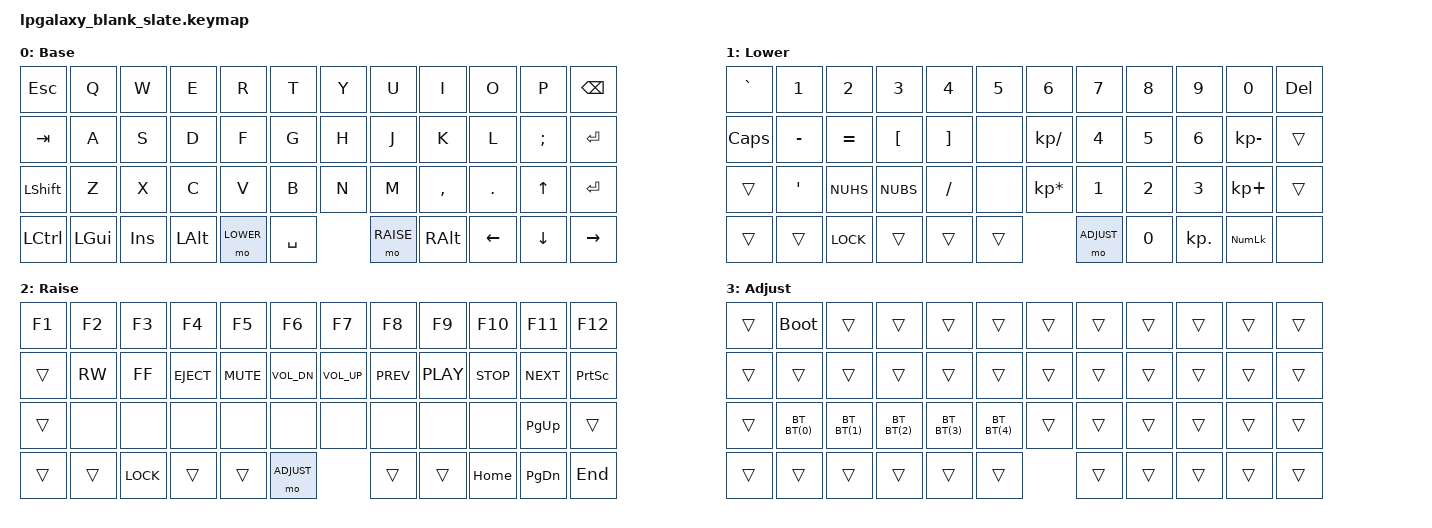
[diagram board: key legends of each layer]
/*
 * Blank Slate Firmware Keymap
 * Layout: 4x12-1x2u
 * ZMK revision: v0.3.0
 */

#include <behaviors.dtsi>
#include <dt-bindings/zmk/keys.h>
#include <dt-bindings/zmk/bt.h>f
#include <dt-bindings/zmk/outputs.h>

#define LOWER 1
#define RAISE 2
#define ADJUST 3

// Using layer taps on thumbs, having quick tap as well helps w/ repeating space/backspace
&lt { quick_tap_ms = <200>; };

#define BT(n) BT_SEL n

/ {
    chosen {
       zmk,physical-layout = &layout_ortho_4x12_1x2u;
    };

    macros {
      ZMK_MACRO(thumbs_up,
		wait-ms = <1>;
		tap-ms = <5>;
                bindings = <&kp PLUS &kp COLON &kp PLUS &kp N1 &kp COLON &kp RET>;
		)
    };
    
    tap_dances {
    	shifty: shift_caps_word {
		compatible = "zmk,behavior-tap-dance";
		label = "TD_SHIFTY";
		#binding-cells = <0>;
		tapping-term-ms = <150>;
		bindings = <&kp LSHFT>, <&caps_word>;
	};
  };

    keymap {
        compatible = "zmk,keymap";

        base_layer {
            label = "Base";
            bindings = <
  &kp ESC   &kp Q       &kp W      &kp E       &kp R      &kp T        &kp Y           &kp U      &kp I      &kp O      &kp P        &kp BKSP
  &kp TAB   &kp A       &kp S      &kp D       &kp F      &kp G        &kp H           &kp J      &kp K      &kp L      &kp SEMI     &kp RET
  &kp LSHFT &kp Z       &kp X      &kp C       &kp V      &kp B        &kp N           &kp M      &kp COMMA  &kp DOT    &kp UP       &kp RET
  &kp LCTRL &kp LGUI    &kp INS    &kp LALT    &mo LOWER  &kp SPACE                    &mo RAISE  &kp RALT   &kp LEFT   &kp DOWN     &kp RIGHT
            >;
        };

        lower_layer {
            label = "Lower";
            bindings = <
  &kp GRAVE &kp N1      &kp N2     &kp N3      &kp N4     &kp N5       &kp N6          &kp N7     &kp N8     &kp N9     &kp N0       &kp DEL
  &kp CAPS  &kp MINUS   &kp EQUAL  &kp LBKT    &kp RBKT   &none        &kp KP_DIVIDE   &kp N4     &kp N5     &kp N6     &kp KP_MINUS &trans
  &trans    &kp APOS    &kp NUHS   &kp NUBS    &kp FSLH   &none        &kp KP_MULTIPLY &kp N1     &kp N2     &kp N3     &kp KP_PLUS  &trans
  &trans    &trans      &kp K_LOCK &trans      &trans     &trans                       &mo ADJUST &kp N0     &kp KP_DOT &kp KP_NUM   &none
            >;
        };

        raise_layer {
            label = "Raise";
            bindings = <
  &kp F1    &kp F2      &kp F3     &kp F4      &kp F5     &kp F6       &kp F7          &kp F8     &kp F9     &kp F10    &kp F11      &kp F12
  &trans    &kp C_RW    &kp C_FF   &kp C_EJECT &kp C_MUTE &kp C_VOL_DN &kp C_VOL_UP    &kp C_PREV &kp C_PLAY &kp C_STOP &kp C_NEXT   &kp PSCRN
  &trans    &none       &none      &none       &none      &none        &none           &none      &none      &none      &kp PG_UP    &trans
  &trans    &trans      &kp K_LOCK &trans      &trans     &mo ADJUST                   &trans     &trans     &kp HOME   &kp PG_DN    &kp END
            >;
        };

        adjust_layer {
            label = "Adjust";
            bindings = <
  &trans    &bootloader &trans     &trans      &trans     &trans       &trans          &trans     &trans     &trans     &trans       &trans
  &trans    &trans      &trans     &trans      &trans     &trans       &trans          &trans     &trans     &trans     &trans       &trans
  &trans    &bt BT(0)   &bt BT(1)  &bt BT(2)   &bt BT(3)  &bt BT(4)    &trans          &trans     &trans     &trans     &trans       &trans
  &trans    &trans      &trans     &trans      &trans     &trans                       &trans     &trans     &trans     &trans       &trans
            >;
        };
    };
};
